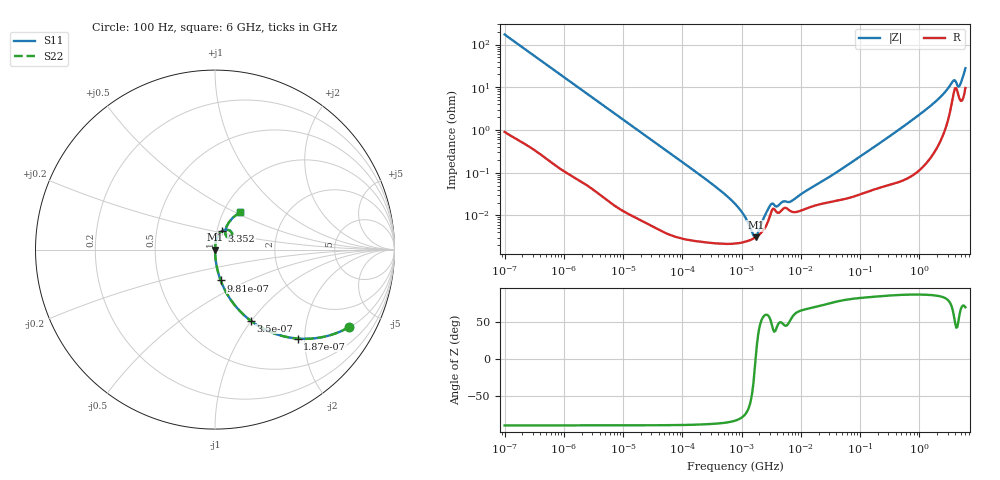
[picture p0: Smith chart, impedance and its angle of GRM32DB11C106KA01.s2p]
!Murata Part Number: GRM32DB11C106KA01
!These Parameters are Measured in Series Mode Connection
!Data Generated on Mar 30, 2021
!  o--ll--o
!Port1  Port2
!  o------o
!Operation Temp=25[degC], DC Bias Voltage=0[V]
!Freq. Start=100[Hz] Stop=6[GHz] 401[Steps]
# Hz S RI R 50
!Freq.(Hz) S11(Real) S11(Imag) S21(Real) S21(Imag) S12(Real) S12(Imag) S22(Real) S22(Imag)
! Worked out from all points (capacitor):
!   401 points, 100 Hz to 6 GHz, reference 50 ohm
!   read as one part in series: C = 9.21 uF near 109 Hz
!   lowest |Z| = 3.07 mohm at 1.734 MHz (marker M1)
!   series resonance near 1.725 MHz, so ESL is about 920 pH
!   S11 on the Smith chart (normalised r, x): 100 Hz: 1.02, -3.45; 187 Hz: 1.01, -1.85; 350 Hz: 1.01, -0.99; 981 Hz: 1.00, -0.35; 3.352 GHz: 1.06, +0.22; 6 GHz: 1.19, +0.53
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100  0.7475 -0.4318  0.2525 0.4318  0.2525 0.4318  0.7475 -0.4318
187  0.4608 -0.4956  0.5392 0.4956  0.5392 0.4956  0.4608 -0.4956
350  0.1983 -0.3956  0.8017 0.3956  0.8017 0.3956  0.1983 -0.3956
981  0.0315 -0.1717  0.9685 0.1717  0.9685 0.1717  0.0315 -0.1717
2008  0.00809 -0.0862  0.9919 0.0862  0.9919 0.0862  0.00809 -0.0862
40335  6.5e-05 -0.00438  0.9999 0.00438  0.9999 0.00438  6.5e-05 -0.00438
330837  2.26e-05 -0.000519  1 0.000519  1 0.000519  2.26e-05 -0.000519
774597  2.19e-05 -0.000186  1 0.000186  1 0.000186  2.19e-05 -0.000186
1159002  2.41e-05 -8.61e-05  1 8.61e-05  1 8.61e-05  2.41e-05 -8.61e-05
1734173  3.07e-05 1.2e-06  1 -1.2e-06  1 -1.2e-06  3.07e-05 1.2e-06
2372521  4.64e-05 7.42e-05  1 -7.42e-05  1 -7.42e-05  4.64e-05 7.42e-05
3245845  0.000131 0.000136  0.9999 -0.000136  0.9999 -0.000136  0.000131 0.000136
4060267  0.000115 0.000117  0.9999 -0.000117  0.9999 -0.000117  0.000115 0.000117
5079039  0.000145 0.000155  0.9999 -0.000155  0.9999 -0.000155  0.000145 0.000155
6644369  0.000127 0.000166  0.9999 -0.000166  0.9999 -0.000166  0.000127 0.000166
1.555665e7  0.000162 0.000427  0.9998 -0.000427  0.9998 -0.000427  0.000162 0.000427
3.124326e8  0.000563 0.00703  0.9994 -0.00703  0.9994 -0.00703  0.000563 0.00703
1.637704e9  0.00399 0.0389  0.996 -0.0389  0.996 -0.0389  0.00399 0.0389
3.352442e9  0.0394 0.1026  0.9606 -0.1026  0.9606 -0.1026  0.0394 0.1026
3.8344e9  0.0829 0.1063  0.9171 -0.1063  0.9171 -0.1063  0.0829 0.1063
4.796499e9  0.058 0.0854  0.942 -0.0854  0.942 -0.0854  0.058 0.0854
6e9  0.1376 0.2076  0.8624 -0.2076  0.8624 -0.2076  0.1376 0.2076
